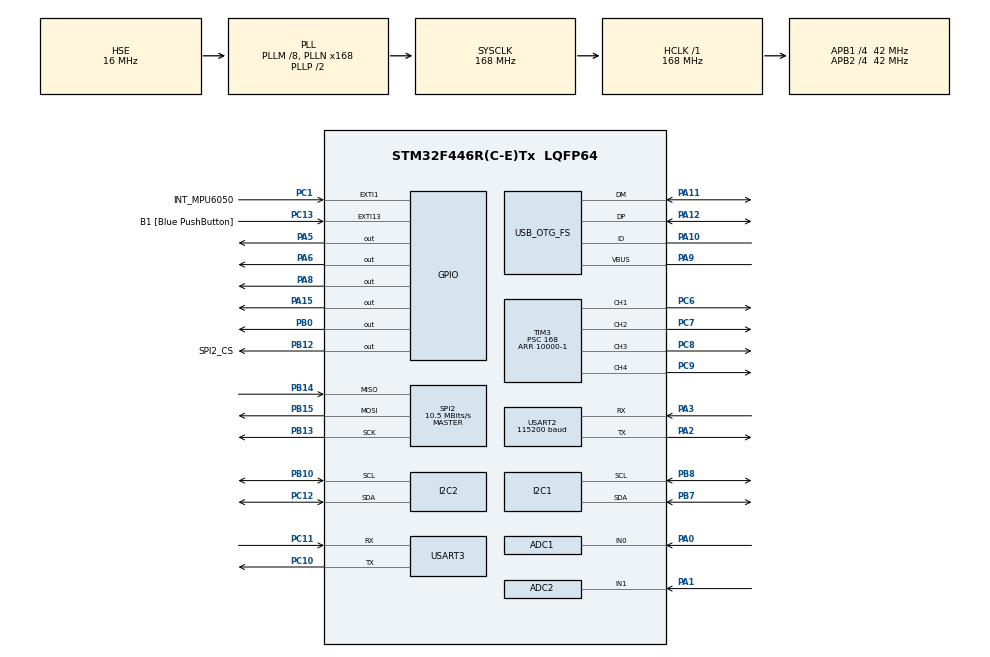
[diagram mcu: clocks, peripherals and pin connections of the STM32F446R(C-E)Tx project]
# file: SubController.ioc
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ADC1.Channel-0\#ChannelRegularConversion=ADC_CHANNEL_0
ADC1.ClockPrescaler=ADC_CLOCK_SYNC_PCLK_DIV4
ADC1.ContinuousConvMode=DISABLE
ADC1.DMAContinuousRequests=ENABLE
ADC1.DiscontinuousConvMode=DISABLE
ADC1.ExternalTrigConv=ADC_EXTERNALTRIGCONV_T2_TRGO
ADC1.NbrOfConversion=1
ADC1.NbrOfConversionFlag=1
ADC1.Rank-0\#ChannelRegularConversion=1
ADC1.SamplingTime-0\#ChannelRegularConversion=ADC_SAMPLETIME_144CYCLES
ADC1.ScanConvMode=ENABLE
ADC1.master=1
ADC2.Channel-0\#ChannelRegularConversion=ADC_CHANNEL_1
ADC2.ClockPrescaler=ADC_CLOCK_SYNC_PCLK_DIV4
ADC2.DMAContinuousRequests=ENABLE
ADC2.ExternalTrigConv=ADC_EXTERNALTRIGCONV_T2_TRGO
ADC2.ExternalTrigConvEdge=ADC_EXTERNALTRIGCONVEDGE_FALLING
ADC2.NbrOfConversion=1
ADC2.NbrOfConversionFlag=1
ADC2.Rank-0\#ChannelRegularConversion=1
ADC2.SamplingTime-0\#ChannelRegularConversion=ADC_SAMPLETIME_3CYCLES
Dma.ADC1.2.Direction=DMA_PERIPH_TO_MEMORY
Dma.ADC1.2.FIFOMode=DMA_FIFOMODE_DISABLE
Dma.ADC1.2.Instance=DMA2_Stream0
Dma.ADC1.2.MemDataAlignment=DMA_MDATAALIGN_HALFWORD
Dma.ADC1.2.MemInc=DMA_MINC_ENABLE
Dma.ADC1.2.Mode=DMA_CIRCULAR
Dma.ADC1.2.PeriphDataAlignment=DMA_PDATAALIGN_HALFWORD
Dma.ADC1.2.PeriphInc=DMA_PINC_DISABLE
Dma.ADC1.2.Priority=DMA_PRIORITY_HIGH
Dma.ADC2.5.Direction=DMA_PERIPH_TO_MEMORY
Dma.ADC2.5.FIFOMode=DMA_FIFOMODE_DISABLE
Dma.ADC2.5.Instance=DMA2_Stream2
Dma.ADC2.5.MemDataAlignment=DMA_MDATAALIGN_HALFWORD
Dma.ADC2.5.MemInc=DMA_MINC_ENABLE
Dma.ADC2.5.Mode=DMA_CIRCULAR
Dma.ADC2.5.PeriphDataAlignment=DMA_PDATAALIGN_HALFWORD
Dma.ADC2.5.PeriphInc=DMA_PINC_DISABLE
Dma.ADC2.5.Priority=DMA_PRIORITY_HIGH
Dma.I2C1_RX.0.Direction=DMA_PERIPH_TO_MEMORY
Dma.I2C1_RX.0.FIFOMode=DMA_FIFOMODE_DISABLE
Dma.I2C1_RX.0.Instance=DMA1_Stream0
Dma.I2C1_RX.0.MemDataAlignment=DMA_MDATAALIGN_BYTE
Dma.I2C1_RX.0.MemInc=DMA_MINC_ENABLE
Dma.I2C1_RX.0.Mode=DMA_NORMAL
Dma.I2C1_RX.0.PeriphDataAlignment=DMA_PDATAALIGN_BYTE
Dma.I2C1_RX.0.PeriphInc=DMA_PINC_DISABLE
Dma.I2C1_RX.0.Priority=DMA_PRIORITY_HIGH
Dma.I2C1_TX.1.Direction=DMA_MEMORY_TO_PERIPH
Dma.I2C1_TX.1.FIFOMode=DMA_FIFOMODE_DISABLE
Dma.I2C1_TX.1.Instance=DMA1_Stream7
Dma.I2C1_TX.1.MemDataAlignment=DMA_MDATAALIGN_BYTE
Dma.I2C1_TX.1.MemInc=DMA_MINC_ENABLE
Dma.I2C1_TX.1.Mode=DMA_NORMAL
Dma.I2C1_TX.1.PeriphDataAlignment=DMA_PDATAALIGN_BYTE
Dma.I2C1_TX.1.PeriphInc=DMA_PINC_DISABLE
Dma.I2C1_TX.1.Priority=DMA_PRIORITY_HIGH
Dma.Request0=I2C1_RX
Dma.Request1=I2C1_TX
Dma.Request2=ADC1
Dma.Request3=USART3_RX
Dma.Request4=USART3_TX
Dma.Request5=ADC2
Dma.Request6=USART2_TX
Dma.USART2_TX.6.Direction=DMA_MEMORY_TO_PERIPH
Dma.USART2_TX.6.FIFOMode=DMA_FIFOMODE_DISABLE
Dma.USART2_TX.6.Instance=DMA1_Stream6
Dma.USART2_TX.6.MemDataAlignment=DMA_MDATAALIGN_BYTE
Dma.USART2_TX.6.MemInc=DMA_MINC_ENABLE
Dma.USART2_TX.6.Mode=DMA_NORMAL
Dma.USART2_TX.6.PeriphDataAlignment=DMA_PDATAALIGN_BYTE
Dma.USART2_TX.6.PeriphInc=DMA_PINC_DISABLE
Dma.USART2_TX.6.Priority=DMA_PRIORITY_HIGH
Dma.USART3_RX.3.Direction=DMA_PERIPH_TO_MEMORY
Dma.USART3_RX.3.FIFOMode=DMA_FIFOMODE_DISABLE
Dma.USART3_RX.3.Instance=DMA1_Stream1
Dma.USART3_RX.3.MemDataAlignment=DMA_MDATAALIGN_BYTE
Dma.USART3_RX.3.MemInc=DMA_MINC_ENABLE
Dma.USART3_RX.3.Mode=DMA_CIRCULAR
Dma.USART3_RX.3.PeriphDataAlignment=DMA_PDATAALIGN_BYTE
Dma.USART3_RX.3.PeriphInc=DMA_PINC_DISABLE
Dma.USART3_RX.3.Priority=DMA_PRIORITY_MEDIUM
Dma.USART3_TX.4.Direction=DMA_MEMORY_TO_PERIPH
Dma.USART3_TX.4.FIFOMode=DMA_FIFOMODE_DISABLE
Dma.USART3_TX.4.Instance=DMA1_Stream3
Dma.USART3_TX.4.MemDataAlignment=DMA_MDATAALIGN_BYTE
Dma.USART3_TX.4.MemInc=DMA_MINC_ENABLE
Dma.USART3_TX.4.Mode=DMA_CIRCULAR
Dma.USART3_TX.4.PeriphDataAlignment=DMA_PDATAALIGN_BYTE
Dma.USART3_TX.4.PeriphInc=DMA_PINC_DISABLE
Dma.USART3_TX.4.Priority=DMA_PRIORITY_MEDIUM
FATFS._MAX_SS=4096
FATFS._USE_LFN=2
FREERTOS.Tasks01=DefaultTask,-3,128,defaultTask,Default,NULL,Dynamic,NULL,NULL;LEDscreenTask,0,512,sendDataToScreen,Default,NULL,Dynamic,NULL,NULL;controlLoopTask,2,128,updateControlLoop,Default,NULL,Dynamic,NULL,NULL;SDcardTask,0,2048,recordSDdata,Default,NULL,Dynamic,NULL,NULL;pressureSensorT,0,128,getBar30Data,Default,NULL,Dynamic,NULL,NULL;KalmanPredict,0,128,EKFpredict,Default,NULL,Dynamic,NULL,NULL
FREERTOS.configUSE_NEWLIB_REENTRANT=1
I2C1.I2C_Mode=I2C_Fast
Mcu.Family=STM32F4
Mcu.Name=STM32F446R(C-E)Tx
Mcu.Package=LQFP64
NVIC.ADC_IRQn=true\:5\:0\:false\:false\:true\:true\:true\:true\:true
NVIC.DMA1_Stream0_IRQn=true\:5\:0\:false\:false\:true\:true\:false\:true\:true
NVIC.DMA1_Stream1_IRQn=true\:5\:0\:false\:false\:true\:true\:false\:true\:true
NVIC.DMA1_Stream3_IRQn=true\:5\:0\:false\:false\:true\:true\:false\:true\:true
NVIC.DMA1_Stream6_IRQn=true\:5\:0\:false\:false\:true\:true\:false\:true\:true
NVIC.DMA1_Stream7_IRQn=true\:5\:0\:false\:false\:true\:true\:false\:true\:true
NVIC.DMA2_Stream0_IRQn=true\:5\:0\:false\:false\:true\:true\:false\:true\:true
NVIC.DMA2_Stream2_IRQn=true\:5\:0\:false\:false\:true\:true\:false\:true\:true
NVIC.EXTI1_IRQn=true\:5\:0\:false\:false\:true\:true\:true\:true\:true
NVIC.I2C1_EV_IRQn=true\:5\:0\:false\:false\:true\:true\:true\:true\:true
NVIC.I2C2_EV_IRQn=true\:5\:0\:false\:false\:true\:true\:true\:true\:true
NVIC.PriorityGroup=NVIC_PRIORITYGROUP_4
NVIC.TIM1_UP_TIM10_IRQn=true\:15\:0\:false\:false\:true\:false\:false\:true\:true
NVIC.TIM3_IRQn=true\:5\:0\:false\:false\:true\:true\:true\:true\:true
NVIC.TimeBase=TIM1_UP_TIM10_IRQn
NVIC.TimeBaseIP=TIM1
NVIC.USART2_IRQn=true\:5\:0\:false\:false\:true\:true\:true\:true\:true
NVIC.USART3_IRQn=true\:5\:0\:false\:false\:true\:true\:true\:true\:true
PA0-WKUP.Signal=ADCx_IN0
PA1.Signal=ADCx_IN1
PA10.Mode=OTG/Dual_Role_Device
PA10.Signal=USB_OTG_FS_ID
PA11.Mode=OTG/Dual_Role_Device
PA11.Signal=USB_OTG_FS_DM
PA12.Mode=OTG/Dual_Role_Device
PA12.Signal=USB_OTG_FS_DP
PA13.GPIO_Label=TMS
PA13.Mode=Trace_Asynchronous_SW
PA13.Signal=SYS_JTMS-SWDIO
PA14.GPIO_Label=TCK
PA14.Mode=Trace_Asynchronous_SW
PA14.Signal=SYS_JTCK-SWCLK
PA15.Signal=GPIO_Output
PA2.Mode=Asynchronous
PA2.Signal=USART2_TX
PA3.Mode=Asynchronous
PA3.Signal=USART2_RX
PA5.Signal=GPIO_Output
PA6.Signal=GPIO_Output
PA8.Signal=GPIO_Output
PA9.Mode=Activate_VBUS
PA9.Signal=USB_OTG_FS_VBUS
PB0.Signal=GPIO_Output
PB10.Mode=I2C
PB10.Signal=I2C2_SCL
PB12.GPIO_Label=SPI2_CS
PB12.GPIO_Speed=GPIO_SPEED_FREQ_MEDIUM
PB12.PinState=GPIO_PIN_SET
PB12.Signal=GPIO_Output
PB13.Mode=Full_Duplex_Master
PB13.Signal=SPI2_SCK
PB14.Mode=Full_Duplex_Master
PB14.Signal=SPI2_MISO
PB15.Mode=Full_Duplex_Master
PB15.Signal=SPI2_MOSI
PB3.Mode=Trace_Asynchronous_SW
PB3.Signal=SYS_JTDO-SWO
PB7.Mode=I2C
PB7.Signal=I2C1_SDA
PB8.Mode=I2C
PB8.Signal=I2C1_SCL
PC1.GPIO_Label=INT_MPU6050
PC1.Signal=GPXTI1
PC10.Mode=Asynchronous
PC10.Signal=USART3_TX
PC11.Mode=Asynchronous
PC11.Signal=USART3_RX
PC12.Mode=I2C
PC12.Signal=I2C2_SDA
PC13.GPIO_Label=B1 [Blue PushButton]
PC13.GPIO_ModeDefaultEXTI=GPIO_MODE_IT_FALLING
PC13.Signal=GPXTI13
PC14-OSC32_IN.Mode=LSE-External-Oscillator
PC14-OSC32_IN.Signal=RCC_OSC32_IN
PC15-OSC32_OUT.Mode=LSE-External-Oscillator
PC15-OSC32_OUT.Signal=RCC_OSC32_OUT
PC6.Signal=S_TIM3_CH1
PC7.Signal=S_TIM3_CH2
PC8.Signal=S_TIM3_CH3
PC9.Signal=S_TIM3_CH4
PH0-OSC_IN.Mode=HSE-External-Oscillator
PH0-OSC_IN.Signal=RCC_OSC_IN
PH1-OSC_OUT.Mode=HSE-External-Oscillator
PH1-OSC_OUT.Signal=RCC_OSC_OUT
ProjectManager.HeapSize=0x400
ProjectManager.StackSize=0x400
ProjectManager.TargetToolchain=STM32CubeIDE
RCC.48MHZClocksFreq_Value=84000000
RCC.AHBFreq_Value=168000000
RCC.APB1CLKDivider=RCC_HCLK_DIV4
RCC.APB1Freq_Value=42000000
RCC.APB1TimFreq_Value=84000000
RCC.APB2CLKDivider=RCC_HCLK_DIV4
RCC.APB2Freq_Value=42000000
RCC.APB2TimFreq_Value=84000000
RCC.CortexFreq_Value=168000000
RCC.FLatency-AdvancedSettings=FLASH_LATENCY_5
RCC.HCLKFreq_Value=168000000
RCC.HSE_VALUE=16000000
RCC.HSI_VALUE=16000000
RCC.PLLI2SM=39
RCC.PLLI2SN=100
RCC.PLLM=8
RCC.PLLN=168
RCC.PLLQ=7
RCC.PLLSourceVirtual=RCC_PLLSOURCE_HSE
RCC.SYSCLKFreq_VALUE=168000000
RCC.SYSCLKSource=RCC_SYSCLKSOURCE_PLLCLK
RCC.USBFreq_Value=48000000
RCC.VCOOutputFreq_Value=336000000
SH.ADCx_IN0.0=ADC1_IN0,IN0
SH.ADCx_IN1.0=ADC2_IN1,IN1
SH.S_TIM3_CH1.0=TIM3_CH1,PWM Generation1 CH1
SH.S_TIM3_CH2.0=TIM3_CH2,PWM Generation2 CH2
SH.S_TIM3_CH3.0=TIM3_CH3,PWM Generation3 CH3
SH.S_TIM3_CH4.0=TIM3_CH4,PWM Generation4 CH4
SPI2.BaudRatePrescaler=SPI_BAUDRATEPRESCALER_4
SPI2.CalculateBaudRate=10.5 MBits/s
SPI2.Direction=SPI_DIRECTION_2LINES
SPI2.Mode=SPI_MODE_MASTER
SPI2.VirtualType=VM_MASTER
TIM2.Channel-PWM\ Generation1\ No\ Output=TIM_CHANNEL_1
TIM2.Period=2000-1
TIM2.Prescaler=8400-1
TIM2.TIM_MasterOutputTrigger=TIM_TRGO_UPDATE
TIM3.Channel-PWM\ Generation1\ CH1=TIM_CHANNEL_1
TIM3.Channel-PWM\ Generation2\ CH2=TIM_CHANNEL_2
TIM3.Channel-PWM\ Generation3\ CH3=TIM_CHANNEL_3
TIM3.Channel-PWM\ Generation4\ CH4=TIM_CHANNEL_4
TIM3.Period=10000-1
TIM3.Prescaler=168
TIM8.Channel-PWM\ Generation1\ No\ Output=TIM_CHANNEL_1
TIM8.Period=2000-1
TIM8.Prescaler=8400-1
TIM8.TIM_MasterOutputTrigger=TIM_TRGO_UPDATE
USART2.BaudRate=115200
USART2.VirtualMode=VM_ASYNC
USART3.VirtualMode=VM_ASYNC
VP_FATFS_VS_Generic.Mode=User_defined
VP_FREERTOS_VS_CMSIS_V1.Mode=CMSIS_V1
VP_SYS_VS_tim1.Mode=TIM1
VP_TIM2_VS_ClockSourceINT.Mode=Internal
VP_TIM2_VS_no_output1.Mode=PWM Generation1 No Output
VP_TIM8_VS_ClockSourceINT.Mode=Internal
VP_TIM8_VS_no_output1.Mode=PWM Generation1 No Output
board=NUCLEO-F446RE

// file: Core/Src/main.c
/* USER CODE BEGIN Header */
/**
  ******************************************************************************
  * @file           : main.c
  * @brief          : Main program body
  ******************************************************************************
  * @attention
  *
  * Copyright (c) 2023 STMicroelectronics.
  * All rights reserved.
  *
  * This software is licensed under terms that can be found in the LICENSE file
  * in the root directory of this software component.
  * If no LICENSE file comes with this software, it is provided AS-IS.
  *
  ******************************************************************************
  */
/* USER CODE END Header */
#include "main.h"
#include "cmsis_os.h"
#include "fatfs.h"

/* USER CODE BEGIN Includes */
#include "fatfs_sd.h"
#include "string.h"
#include "stdio.h"
#include "MPU6050.h"
#include "joystick.h"
#include "Bar30.h"
#include "LCDcommunication.h"
#include "KalmanRollPitch.h"
#include "servos.h"
/* USER CODE END Includes */

/* USER CODE BEGIN PD */

// SD card variables
uint8_t firstWrite=1;
SPI_HandleTypeDef hspi2;
FATFS fs;
FATFS *pfs;
FIL fil;
FRESULT fres;
DWORD fre_clust;
uint32_t totalSpace, freeSpace;
char buffer[100];

// Tx buffer for screen
uint8_t Txbuf[25];

// velocity,roll and pitch
float velocity=0.0f;
float phiHat_rad=0.0f;
float thetaHat_rad = 0.0f;
float phiHat_deg=0.0f;
float thetaHat_deg = 0.0f;

/* USER CODE END PD */

/* USER CODE BEGIN PM */
#define RAD_TO_DEG 57.2957795131f;

/* USER CODE END PM */

ADC_HandleTypeDef hadc1;
ADC_HandleTypeDef hadc2;
DMA_HandleTypeDef hdma_adc1;
DMA_HandleTypeDef hdma_adc2;

I2C_HandleTypeDef hi2c1;
I2C_HandleTypeDef hi2c2;
DMA_HandleTypeDef hdma_i2c1_rx;
DMA_HandleTypeDef hdma_i2c1_tx;

SPI_HandleTypeDef hspi2;

TIM_HandleTypeDef htim2;
TIM_HandleTypeDef htim3;
TIM_HandleTypeDef htim8;

UART_HandleTypeDef huart2;
UART_HandleTypeDef huart3;
DMA_HandleTypeDef hdma_usart2_tx;
DMA_HandleTypeDef hdma_usart3_rx;
DMA_HandleTypeDef hdma_usart3_tx;

osThreadId DefaultTaskHandle;
osThreadId LEDscreenTaskHandle;
osThreadId controlLoopTaskHandle;
osThreadId SDcardTaskHandle;
osThreadId pressureSensorTHandle;
osThreadId KalmanPredictHandle;
/* USER CODE BEGIN PV */

Joystick joystick;
uint32_t adc1Data;
uint32_t adc2Data;

MPU6050 mpu6050;
Bar30 pressureSensor;

uint8_t readCount=0;
uint8_t message=0;
uint8_t mpuIntCount=0;
uint8_t numCalibrationMeas=0;

float* accelx=&mpu6050.acc_mps2[0];
float* accely=&mpu6050.acc_mps2[1];
float* accelz=&mpu6050.acc_mps2[2];

float rollSpeed;
float pitchSpeed;
float yawSpeed;

// screen buffers and states

static HAL_StatusTypeDef txStatus;

/* USER CODE END PV */

void SystemClock_Config(void);
static void MX_GPIO_Init(void);
static void MX_DMA_Init(void);
static void MX_ADC1_Init(void);
static void MX_I2C1_Init(void);
static void MX_TIM3_Init(void);
static void MX_I2C2_Init(void);
static void MX_SPI2_Init(void);
static void MX_TIM2_Init(void);
static void MX_USART2_UART_Init(void);
static void MX_USB_OTG_FS_USB_Init(void);
static void MX_USART3_UART_Init(void);
static void MX_ADC2_Init(void);
static void MX_TIM8_Init(void);
void defaultTask(void const * argument);
void sendDataToScreen(void const * argument);
void updateControlLoop(void const * argument);
void recordSDdata(void const * argument);
void getBar30Data(void const * argument);
void EKFpredict(void const * argument);

/* USER CODE BEGIN 0 */
#ifdef __GNUC__
#define PUTCHAR_PROTOTYPE int __io_putchar(int ch)
#else
#define PUTCHAR_PROTOTYPE int fputc(int ch, FILE *f)
#endif /* __GNUC__ */

void HAL_GPIO_EXTI_Callback(uint16_t GPIO_Pin)
{

	if(GPIO_Pin==INT_MPU6050_Pin) //interrupt called at 1kHz
	{
		mpuIntCount=mpuIntCount+1;
		if(mpuIntCount==20){ // downsample MPU6050 data at 50 Hz
			message=MPU6050readDataDMA(&mpu6050);
			//printf("error message: %i\r\n:",message);
			mpuIntCount=0;
			//mpu6050.numCalibrationMeas=mpu6050.numCalibrationMeas+1;
		}
	}
}

void HAL_I2C_MemRxCpltCallback(I2C_HandleTypeDef* hi2c)
{
	if(hi2c->Instance==mpu6050.i2cHandle->Instance)
	{
		mpu6050.rxFlag=0;
		MPU6050convertRawData(&mpu6050);
		//MPU6050filterRawData(&mpu6050);

	}

}

void transmit_uart(char* string){
	uint8_t len=strlen(string);
	HAL_UART_Transmit(&huart2,(uint8_t*)string,len,200);
}

void HAL_ADC_ConvCpltCallback(ADC_HandleTypeDef *hadc)
{
	if(hadc->Instance==ADC1){
		joystick.joystickData[0]=adc1Data;
		joystick.joystickVoltage[0]=(float)joystick.joystickData[0]*3.3/4095.0f;

	}
	if(hadc->Instance==ADC2){
		joystick.joystickData[1]=adc2Data;
		joystick.joystickVoltage[1]=(float)joystick.joystickData[1]*3.3/4095.0f;

	}
}

void HAL_UART_RxCpltCallback(UART_HandleTypeDef *huart)
{

}

void HAL_UART_TxCpltCallback(UART_HandleTypeDef *huart)
{

}

int _write(int file, char *ptr, int len)
{
  (void)file;
  int DataIdx;

  for (DataIdx = 0; DataIdx < len; DataIdx++)
  {
    ITM_SendChar(*ptr++);
  }
  return len;
}

/* USER CODE END 0 */

int main(void)
{

  /* MCU Configuration--------------------------------------------------------*/

  /* Reset of all peripherals, Initializes the Flash interface and the Systick. */
  HAL_Init();

  /* Configure the system clock */
  SystemClock_Config();

  /* Initialize all configured peripherals */
  MX_GPIO_Init();
  MX_DMA_Init();
  MX_ADC1_Init();
  MX_I2C1_Init();
  MX_TIM3_Init();
  MX_I2C2_Init();
  MX_SPI2_Init();
  MX_FATFS_Init();
  MX_TIM2_Init();
  MX_USART2_UART_Init();
  MX_USB_OTG_FS_USB_Init();
  MX_USART3_UART_Init();
  MX_ADC2_Init();
  MX_TIM8_Init();
  /* USER CODE BEGIN 2 */

  // Start servo PWM ( pulse duration from 0.9ms to 2.1ms with 1.5 as center ) duty cycle varies from 4.5% to 7.5%
  //( CCR can go from 425 to 1175 )
  HAL_TIM_PWM_Start(&htim3,TIM_CHANNEL_1);
  HAL_TIM_PWM_Start(&htim3,TIM_CHANNEL_2);
  HAL_TIM_PWM_Start(&htim3,TIM_CHANNEL_3);
  HAL_TIM_PWM_Start(&htim3,TIM_CHANNEL_4);

  htim3.Instance->CCR1=SERVO_CENTER_PWM;
  htim3.Instance->CCR2=SERVO_CENTER_PWM;
  htim3.Instance->CCR3=SERVO_CENTER_PWM;
  htim3.Instance->CCR4=SERVO_CENTER_PWM;

  // Start DMA streams

  HAL_ADC_Start_DMA(&hadc1,&adc1Data,1);
  HAL_ADC_Start_DMA(&hadc2,&adc2Data,1);
  HAL_TIM_Base_Start(&htim2);
  HAL_TIM_Base_Start(&htim8);

  // sensor initialization
  uint8_t deviceReady;
  deviceReady=checkMPU6050Ready();
  uint8_t configGood=MPU6050init(&mpu6050,&hi2c1);
  uint8_t rec;
  HAL_StatusTypeDef stat;
  stat=HAL_I2C_Mem_Read (&hi2c1,MPU6050ADDR,WHO_AM_I_REG,I2C_MEMADD_SIZE_8BIT,&rec,1,100);

  Bar30init(&pressureSensor, &hi2c2);
  uint8_t i2cGood=0;
  i2cGood=Bar30reset(&pressureSensor);
  printf("Reset Command Result : %i\r\n",i2cGood );
  i2cGood=Bar30getCalibration(&pressureSensor);
  printf("Calibration phase result : %i\r\n",i2cGood );
  i2cGood=Bar30CRCcheck(pressureSensor.calibrationResult);

  /* USER CODE END 2 */

  /* Create the thread(s) */
  /* definition and creation of DefaultTask */
  osThreadDef(DefaultTask, defaultTask, osPriorityIdle, 0, 128);
  DefaultTaskHandle = osThreadCreate(osThread(DefaultTask), NULL);

  /* definition and creation of LEDscreenTask */
  osThreadDef(LEDscreenTask, sendDataToScreen, osPriorityNormal, 0, 512);
  LEDscreenTaskHandle = osThreadCreate(osThread(LEDscreenTask), NULL);

  /* definition and creation of controlLoopTask */
  osThreadDef(controlLoopTask, updateControlLoop, osPriorityHigh, 0, 128);
  controlLoopTaskHandle = osThreadCreate(osThread(controlLoopTask), NULL);

  /* definition and creation of SDcardTask */
  osThreadDef(SDcardTask, recordSDdata, osPriorityNormal, 0, 2048);
  SDcardTaskHandle = osThreadCreate(osThread(SDcardTask), NULL);

  /* definition and creation of pressureSensorT */
  osThreadDef(pressureSensorT, getBar30Data, osPriorityNormal, 0, 128);
  pressureSensorTHandle = osThreadCreate(osThread(pressureSensorT), NULL);

  /* definition and creation of KalmanPredict */
  osThreadDef(KalmanPredict, EKFpredict, osPriorityNormal, 0, 128);
  KalmanPredictHandle = osThreadCreate(osThread(KalmanPredict), NULL);

  /* Start scheduler */
  osKernelStart();

  /* We should never get here as control is now taken by the scheduler */

  /* Infinite loop */
  while (1)
  {

  }
}

void SystemClock_Config(void)
{
  RCC_OscInitTypeDef RCC_OscInitStruct = {0};
  RCC_ClkInitTypeDef RCC_ClkInitStruct = {0};

  /** Configure the main internal regulator output voltage
  */
  __HAL_RCC_PWR_CLK_ENABLE();
  __HAL_PWR_VOLTAGESCALING_CONFIG(PWR_REGULATOR_VOLTAGE_SCALE1);

  /** Initializes the RCC Oscillators according to the specified parameters
  * in the RCC_OscInitTypeDef structure.
  */
  RCC_OscInitStruct.OscillatorType = RCC_OSCILLATORTYPE_HSE;
  RCC_OscInitStruct.HSEState = RCC_HSE_ON;
  RCC_OscInitStruct.PLL.PLLState = RCC_PLL_ON;
  RCC_OscInitStruct.PLL.PLLSource = RCC_PLLSOURCE_HSE;
  RCC_OscInitStruct.PLL.PLLM = 8;
  RCC_OscInitStruct.PLL.PLLN = 168;
  RCC_OscInitStruct.PLL.PLLP = RCC_PLLP_DIV2;
  RCC_OscInitStruct.PLL.PLLQ = 7;
  RCC_OscInitStruct.PLL.PLLR = 2;
  if (HAL_RCC_OscConfig(&RCC_OscInitStruct) != HAL_OK)
  {
    Error_Handler();
  }

  /** Initializes the CPU, AHB and APB buses clocks
  */
  RCC_ClkInitStruct.ClockType = RCC_CLOCKTYPE_HCLK|RCC_CLOCKTYPE_SYSCLK
                              |RCC_CLOCKTYPE_PCLK1|RCC_CLOCKTYPE_PCLK2;
  RCC_ClkInitStruct.SYSCLKSource = RCC_SYSCLKSOURCE_PLLCLK;
  RCC_ClkInitStruct.AHBCLKDivider = RCC_SYSCLK_DIV1;
  RCC_ClkInitStruct.APB1CLKDivider = RCC_HCLK_DIV4;
  RCC_ClkInitStruct.APB2CLKDivider = RCC_HCLK_DIV4;

  if (HAL_RCC_ClockConfig(&RCC_ClkInitStruct, FLASH_LATENCY_5) != HAL_OK)
  {
    Error_Handler();
  }
}

static void MX_ADC1_Init(void)
{

  ADC_ChannelConfTypeDef sConfig = {0};

  /** Configure the global features of the ADC (Clock, Resolution, Data Alignment and number of conversion)
  */
  hadc1.Instance = ADC1;
  hadc1.Init.ClockPrescaler = ADC_CLOCK_SYNC_PCLK_DIV4;
  hadc1.Init.Resolution = ADC_RESOLUTION_12B;
  hadc1.Init.ScanConvMode = ENABLE;
  hadc1.Init.ContinuousConvMode = DISABLE;
  hadc1.Init.DiscontinuousConvMode = DISABLE;
  hadc1.Init.ExternalTrigConvEdge = ADC_EXTERNALTRIGCONVEDGE_RISING;
  hadc1.Init.ExternalTrigConv = ADC_EXTERNALTRIGCONV_T2_TRGO;
  hadc1.Init.DataAlign = ADC_DATAALIGN_RIGHT;
  hadc1.Init.NbrOfConversion = 1;
  hadc1.Init.DMAContinuousRequests = ENABLE;
  hadc1.Init.EOCSelection = ADC_EOC_SINGLE_CONV;
  if (HAL_ADC_Init(&hadc1) != HAL_OK)
  {
    Error_Handler();
  }

  /** Configure for the selected ADC regular channel its corresponding rank in the sequencer and its sample time.
  */
  sConfig.Channel = ADC_CHANNEL_0;
  sConfig.Rank = 1;
  sConfig.SamplingTime = ADC_SAMPLETIME_144CYCLES;
  if (HAL_ADC_ConfigChannel(&hadc1, &sConfig) != HAL_OK)
  {
    Error_Handler();
  }

}

static void MX_ADC2_Init(void)
{

  ADC_ChannelConfTypeDef sConfig = {0};

  /** Configure the global features of the ADC (Clock, Resolution, Data Alignment and number of conversion)
  */
  hadc2.Instance = ADC2;
  hadc2.Init.ClockPrescaler = ADC_CLOCK_SYNC_PCLK_DIV4;
  hadc2.Init.Resolution = ADC_RESOLUTION_12B;
  hadc2.Init.ScanConvMode = DISABLE;
  hadc2.Init.ContinuousConvMode = DISABLE;
  hadc2.Init.DiscontinuousConvMode = DISABLE;
  hadc2.Init.ExternalTrigConvEdge = ADC_EXTERNALTRIGCONVEDGE_FALLING;
  hadc2.Init.ExternalTrigConv = ADC_EXTERNALTRIGCONV_T2_TRGO;
  hadc2.Init.DataAlign = ADC_DATAALIGN_RIGHT;
  hadc2.Init.NbrOfConversion = 1;
  hadc2.Init.DMAContinuousRequests = ENABLE;
  hadc2.Init.EOCSelection = ADC_EOC_SINGLE_CONV;
  if (HAL_ADC_Init(&hadc2) != HAL_OK)
  {
    Error_Handler();
  }

  /** Configure for the selected ADC regular channel its corresponding rank in the sequencer and its sample time.
  */
  sConfig.Channel = ADC_CHANNEL_1;
  sConfig.Rank = 1;
  sConfig.SamplingTime = ADC_SAMPLETIME_3CYCLES;
  if (HAL_ADC_ConfigChannel(&hadc2, &sConfig) != HAL_OK)
  {
    Error_Handler();
  }

}

static void MX_I2C1_Init(void)
{

  hi2c1.Instance = I2C1;
  hi2c1.Init.ClockSpeed = 400000;
  hi2c1.Init.DutyCycle = I2C_DUTYCYCLE_2;
  hi2c1.Init.OwnAddress1 = 0;
  hi2c1.Init.AddressingMode = I2C_ADDRESSINGMODE_7BIT;
  hi2c1.Init.DualAddressMode = I2C_DUALADDRESS_DISABLE;
  hi2c1.Init.OwnAddress2 = 0;
  hi2c1.Init.GeneralCallMode = I2C_GENERALCALL_DISABLE;
  hi2c1.Init.NoStretchMode = I2C_NOSTRETCH_DISABLE;
  if (HAL_I2C_Init(&hi2c1) != HAL_OK)
  {
    Error_Handler();
  }

}

static void MX_I2C2_Init(void)
{

  hi2c2.Instance = I2C2;
  hi2c2.Init.ClockSpeed = 100000;
  hi2c2.Init.DutyCycle = I2C_DUTYCYCLE_2;
  hi2c2.Init.OwnAddress1 = 0;
  hi2c2.Init.AddressingMode = I2C_ADDRESSINGMODE_7BIT;
  hi2c2.Init.DualAddressMode = I2C_DUALADDRESS_DISABLE;
  hi2c2.Init.OwnAddress2 = 0;
  hi2c2.Init.GeneralCallMode = I2C_GENERALCALL_DISABLE;
  hi2c2.Init.NoStretchMode = I2C_NOSTRETCH_DISABLE;
  if (HAL_I2C_Init(&hi2c2) != HAL_OK)
  {
    Error_Handler();
  }

}

static void MX_SPI2_Init(void)
{

  /* SPI2 parameter configuration*/
  hspi2.Instance = SPI2;
  hspi2.Init.Mode = SPI_MODE_MASTER;
  hspi2.Init.Direction = SPI_DIRECTION_2LINES;
  hspi2.Init.DataSize = SPI_DATASIZE_8BIT;
  hspi2.Init.CLKPolarity = SPI_POLARITY_LOW;
  hspi2.Init.CLKPhase = SPI_PHASE_1EDGE;
  hspi2.Init.NSS = SPI_NSS_SOFT;
  hspi2.Init.BaudRatePrescaler = SPI_BAUDRATEPRESCALER_4;
  hspi2.Init.FirstBit = SPI_FIRSTBIT_MSB;
  hspi2.Init.TIMode = SPI_TIMODE_DISABLE;
  hspi2.Init.CRCCalculation = SPI_CRCCALCULATION_DISABLE;
  hspi2.Init.CRCPolynomial = 10;
  if (HAL_SPI_Init(&hspi2) != HAL_OK)
  {
    Error_Handler();
  }

}

static void MX_TIM2_Init(void)
{

  TIM_ClockConfigTypeDef sClockSourceConfig = {0};
  TIM_MasterConfigTypeDef sMasterConfig = {0};
  TIM_OC_InitTypeDef sConfigOC = {0};

  htim2.Instance = TIM2;
  htim2.Init.Prescaler = 8400-1;
  htim2.Init.CounterMode = TIM_COUNTERMODE_UP;
  htim2.Init.Period = 2000-1;
  htim2.Init.ClockDivision = TIM_CLOCKDIVISION_DIV1;
  htim2.Init.AutoReloadPreload = TIM_AUTORELOAD_PRELOAD_DISABLE;
  if (HAL_TIM_Base_Init(&htim2) != HAL_OK)
  {
    Error_Handler();
  }
  sClockSourceConfig.ClockSource = TIM_CLOCKSOURCE_INTERNAL;
  if (HAL_TIM_ConfigClockSource(&htim2, &sClockSourceConfig) != HAL_OK)
  {
    Error_Handler();
  }
  if (HAL_TIM_PWM_Init(&htim2) != HAL_OK)
  {
    Error_Handler();
  }
  sMasterConfig.MasterOutputTrigger = TIM_TRGO_UPDATE;
  sMasterConfig.MasterSlaveMode = TIM_MASTERSLAVEMODE_DISABLE;
  if (HAL_TIMEx_MasterConfigSynchronization(&htim2, &sMasterConfig) != HAL_OK)
  {
    Error_Handler();
  }
  sConfigOC.OCMode = TIM_OCMODE_PWM1;
  sConfigOC.Pulse = 0;
  sConfigOC.OCPolarity = TIM_OCPOLARITY_HIGH;
  sConfigOC.OCFastMode = TIM_OCFAST_DISABLE;
  if (HAL_TIM_PWM_ConfigChannel(&htim2, &sConfigOC, TIM_CHANNEL_1) != HAL_OK)
  {
    Error_Handler();
  }

}

static void MX_TIM3_Init(void)
{

  TIM_MasterConfigTypeDef sMasterConfig = {0};
  TIM_OC_InitTypeDef sConfigOC = {0};

  htim3.Instance = TIM3;
  htim3.Init.Prescaler = 168;
  htim3.Init.CounterMode = TIM_COUNTERMODE_UP;
  htim3.Init.Period = 10000-1;
  htim3.Init.ClockDivision = TIM_CLOCKDIVISION_DIV1;
  htim3.Init.AutoReloadPreload = TIM_AUTORELOAD_PRELOAD_DISABLE;
  if (HAL_TIM_PWM_Init(&htim3) != HAL_OK)
  {
    Error_Handler();
  }
  sMasterConfig.MasterOutputTrigger = TIM_TRGO_RESET;
  sMasterConfig.MasterSlaveMode = TIM_MASTERSLAVEMODE_DISABLE;
  if (HAL_TIMEx_MasterConfigSynchronization(&htim3, &sMasterConfig) != HAL_OK)
  {
    Error_Handler();
  }
  sConfigOC.OCMode = TIM_OCMODE_PWM1;
  sConfigOC.Pulse = 0;
  sConfigOC.OCPolarity = TIM_OCPOLARITY_HIGH;
  sConfigOC.OCFastMode = TIM_OCFAST_DISABLE;
  if (HAL_TIM_PWM_ConfigChannel(&htim3, &sConfigOC, TIM_CHANNEL_1) != HAL_OK)
  {
    Error_Handler();
  }
  if (HAL_TIM_PWM_ConfigChannel(&htim3, &sConfigOC, TIM_CHANNEL_2) != HAL_OK)
  {
    Error_Handler();
  }
  if (HAL_TIM_PWM_ConfigChannel(&htim3, &sConfigOC, TIM_CHANNEL_3) != HAL_OK)
  {
    Error_Handler();
  }
  if (HAL_TIM_PWM_ConfigChannel(&htim3, &sConfigOC, TIM_CHANNEL_4) != HAL_OK)
  {
    Error_Handler();
  }
  HAL_TIM_MspPostInit(&htim3);

}

static void MX_TIM8_Init(void)
{

  TIM_ClockConfigTypeDef sClockSourceConfig = {0};
  TIM_MasterConfigTypeDef sMasterConfig = {0};
  TIM_OC_InitTypeDef sConfigOC = {0};
  TIM_BreakDeadTimeConfigTypeDef sBreakDeadTimeConfig = {0};

  htim8.Instance = TIM8;
  htim8.Init.Prescaler = 8400-1;
  htim8.Init.CounterMode = TIM_COUNTERMODE_UP;
  htim8.Init.Period = 2000-1;
  htim8.Init.ClockDivision = TIM_CLOCKDIVISION_DIV1;
  htim8.Init.RepetitionCounter = 0;
  htim8.Init.AutoReloadPreload = TIM_AUTORELOAD_PRELOAD_DISABLE;
  if (HAL_TIM_Base_Init(&htim8) != HAL_OK)
  {
    Error_Handler();
  }
  sClockSourceConfig.ClockSource = TIM_CLOCKSOURCE_INTERNAL;
  if (HAL_TIM_ConfigClockSource(&htim8, &sClockSourceConfig) != HAL_OK)
  {
    Error_Handler();
  }
  if (HAL_TIM_PWM_Init(&htim8) != HAL_OK)
  {
    Error_Handler();
  }
  sMasterConfig.MasterOutputTrigger = TIM_TRGO_UPDATE;
  sMasterConfig.MasterSlaveMode = TIM_MASTERSLAVEMODE_DISABLE;
  if (HAL_TIMEx_MasterConfigSynchronization(&htim8, &sMasterConfig) != HAL_OK)
  {
    Error_Handler();
  }
  sConfigOC.OCMode = TIM_OCMODE_PWM1;
  sConfigOC.Pulse = 0;
  sConfigOC.OCPolarity = TIM_OCPOLARITY_HIGH;
  sConfigOC.OCNPolarity = TIM_OCNPOLARITY_HIGH;
  sConfigOC.OCFastMode = TIM_OCFAST_DISABLE;
  sConfigOC.OCIdleState = TIM_OCIDLESTATE_RESET;
  sConfigOC.OCNIdleState = TIM_OCNIDLESTATE_RESET;
  if (HAL_TIM_PWM_ConfigChannel(&htim8, &sConfigOC, TIM_CHANNEL_1) != HAL_OK)
  {
    Error_Handler();
  }
  sBreakDeadTimeConfig.OffStateRunMode = TIM_OSSR_DISABLE;
  sBreakDeadTimeConfig.OffStateIDLEMode = TIM_OSSI_DISABLE;
  sBreakDeadTimeConfig.LockLevel = TIM_LOCKLEVEL_OFF;
  sBreakDeadTimeConfig.DeadTime = 0;
  sBreakDeadTimeConfig.BreakState = TIM_BREAK_DISABLE;
  sBreakDeadTimeConfig.BreakPolarity = TIM_BREAKPOLARITY_HIGH;
  sBreakDeadTimeConfig.AutomaticOutput = TIM_AUTOMATICOUTPUT_DISABLE;
  if (HAL_TIMEx_ConfigBreakDeadTime(&htim8, &sBreakDeadTimeConfig) != HAL_OK)
  {
    Error_Handler();
  }

}

static void MX_USART2_UART_Init(void)
{

  huart2.Instance = USART2;
  huart2.Init.BaudRate = 115200;
  huart2.Init.WordLength = UART_WORDLENGTH_8B;
  huart2.Init.StopBits = UART_STOPBITS_1;
  huart2.Init.Parity = UART_PARITY_NONE;
  huart2.Init.Mode = UART_MODE_TX_RX;
  huart2.Init.HwFlowCtl = UART_HWCONTROL_NONE;
  huart2.Init.OverSampling = UART_OVERSAMPLING_16;
  if (HAL_UART_Init(&huart2) != HAL_OK)
  {
    Error_Handler();
  }

}

static void MX_USART3_UART_Init(void)
{

  huart3.Instance = USART3;
  huart3.Init.BaudRate = 115200;
  huart3.Init.WordLength = UART_WORDLENGTH_8B;
  huart3.Init.StopBits = UART_STOPBITS_1;
  huart3.Init.Parity = UART_PARITY_NONE;
  huart3.Init.Mode = UART_MODE_TX_RX;
  huart3.Init.HwFlowCtl = UART_HWCONTROL_NONE;
  huart3.Init.OverSampling = UART_OVERSAMPLING_16;
  if (HAL_UART_Init(&huart3) != HAL_OK)
  {
    Error_Handler();
  }

}

static void MX_USB_OTG_FS_USB_Init(void)
{

}

static void MX_DMA_Init(void)
{

  /* DMA controller clock enable */
  __HAL_RCC_DMA1_CLK_ENABLE();
  __HAL_RCC_DMA2_CLK_ENABLE();

  /* DMA interrupt init */
  /* DMA1_Stream0_IRQn interrupt configuration */
  HAL_NVIC_SetPriority(DMA1_Stream0_IRQn, 5, 0);
  HAL_NVIC_EnableIRQ(DMA1_Stream0_IRQn);
  /* DMA1_Stream1_IRQn interrupt configuration */
  HAL_NVIC_SetPriority(DMA1_Stream1_IRQn, 5, 0);
  HAL_NVIC_EnableIRQ(DMA1_Stream1_IRQn);
  /* DMA1_Stream3_IRQn interrupt configuration */
  HAL_NVIC_SetPriority(DMA1_Stream3_IRQn, 5, 0);
  HAL_NVIC_EnableIRQ(DMA1_Stream3_IRQn);
  /* DMA1_Stream6_IRQn interrupt configuration */
  HAL_NVIC_SetPriority(DMA1_Stream6_IRQn, 5, 0);
  HAL_NVIC_EnableIRQ(DMA1_Stream6_IRQn);
  /* DMA1_Stream7_IRQn interrupt configuration */
  HAL_NVIC_SetPriority(DMA1_Stream7_IRQn, 5, 0);
  HAL_NVIC_EnableIRQ(DMA1_Stream7_IRQn);
  /* DMA2_Stream0_IRQn interrupt configuration */
  HAL_NVIC_SetPriority(DMA2_Stream0_IRQn, 5, 0);
  HAL_NVIC_EnableIRQ(DMA2_Stream0_IRQn);
  /* DMA2_Stream2_IRQn interrupt configuration */
  HAL_NVIC_SetPriority(DMA2_Stream2_IRQn, 5, 0);
  HAL_NVIC_EnableIRQ(DMA2_Stream2_IRQn);

}

static void MX_GPIO_Init(void)
{
  GPIO_InitTypeDef GPIO_InitStruct = {0};

  /* GPIO Ports Clock Enable */
  __HAL_RCC_GPIOC_CLK_ENABLE();
  __HAL_RCC_GPIOH_CLK_ENABLE();
  __HAL_RCC_GPIOA_CLK_ENABLE();
  __HAL_RCC_GPIOB_CLK_ENABLE();

  /*Configure GPIO pin Output Level */
  HAL_GPIO_WritePin(GPIOA, GPIO_PIN_5|GPIO_PIN_6|GPIO_PIN_8|GPIO_PIN_15, GPIO_PIN_RESET);

  /*Configure GPIO pin Output Level */
  HAL_GPIO_WritePin(GPIOB, GPIO_PIN_0, GPIO_PIN_RESET);

  /*Configure GPIO pin Output Level */
  HAL_GPIO_WritePin(SPI2_CS_GPIO_Port, SPI2_CS_Pin, GPIO_PIN_SET);

  /*Configure GPIO pin : B1_Pin */
  GPIO_InitStruct.Pin = B1_Pin;
  GPIO_InitStruct.Mode = GPIO_MODE_IT_FALLING;
  GPIO_InitStruct.Pull = GPIO_NOPULL;
  HAL_GPIO_Init(B1_GPIO_Port, &GPIO_InitStruct);

  /*Configure GPIO pin : INT_MPU6050_Pin */
  GPIO_InitStruct.Pin = INT_MPU6050_Pin;
  GPIO_InitStruct.Mode = GPIO_MODE_IT_RISING;
  GPIO_InitStruct.Pull = GPIO_NOPULL;
  HAL_GPIO_Init(INT_MPU6050_GPIO_Port, &GPIO_InitStruct);

  /*Configure GPIO pins : PA5 PA6 PA8 PA15 */
  GPIO_InitStruct.Pin = GPIO_PIN_5|GPIO_PIN_6|GPIO_PIN_8|GPIO_PIN_15;
  GPIO_InitStruct.Mode = GPIO_MODE_OUTPUT_PP;
  GPIO_InitStruct.Pull = GPIO_NOPULL;
  GPIO_InitStruct.Speed = GPIO_SPEED_FREQ_LOW;
  HAL_GPIO_Init(GPIOA, &GPIO_InitStruct);

  /*Configure GPIO pin : PB0 */
  GPIO_InitStruct.Pin = GPIO_PIN_0;
  GPIO_InitStruct.Mode = GPIO_MODE_OUTPUT_PP;
  GPIO_InitStruct.Pull = GPIO_NOPULL;
  GPIO_InitStruct.Speed = GPIO_SPEED_FREQ_LOW;
  HAL_GPIO_Init(GPIOB, &GPIO_InitStruct);

  /*Configure GPIO pin : SPI2_CS_Pin */
  GPIO_InitStruct.Pin = SPI2_CS_Pin;
  GPIO_InitStruct.Mode = GPIO_MODE_OUTPUT_PP;
  GPIO_InitStruct.Pull = GPIO_NOPULL;
  GPIO_InitStruct.Speed = GPIO_SPEED_FREQ_MEDIUM;
  HAL_GPIO_Init(SPI2_CS_GPIO_Port, &GPIO_InitStruct);

  /*Configure GPIO pin : PA9 */
  GPIO_InitStruct.Pin = GPIO_PIN_9;
  GPIO_InitStruct.Mode = GPIO_MODE_INPUT;
  GPIO_InitStruct.Pull = GPIO_NOPULL;
  HAL_GPIO_Init(GPIOA, &GPIO_InitStruct);

  /*Configure GPIO pins : PA10 PA11 PA12 */
  GPIO_InitStruct.Pin = GPIO_PIN_10|GPIO_PIN_11|GPIO_PIN_12;
  GPIO_InitStruct.Mode = GPIO_MODE_AF_PP;
  GPIO_InitStruct.Pull = GPIO_NOPULL;
  GPIO_InitStruct.Speed = GPIO_SPEED_FREQ_VERY_HIGH;
  GPIO_InitStruct.Alternate = GPIO_AF10_OTG_FS;
  HAL_GPIO_Init(GPIOA, &GPIO_InitStruct);

  /* EXTI interrupt init*/
  HAL_NVIC_SetPriority(EXTI1_IRQn, 5, 0);
  HAL_NVIC_EnableIRQ(EXTI1_IRQn);

}

/* USER CODE BEGIN 4 */
/**
* @brief Retargets the C library printf function to the USART.
* @param None
* @retval None
*/
PUTCHAR_PROTOTYPE
{
/* Place your implementation of fputc here */
/* e.g. write a character to the USART2 and Loop until the end
of transmission */
HAL_UART_Transmit(&huart2, (uint8_t *)&ch, 1, 0xFFFF);
return ch;
}

/* USER CODE END 4 */

void defaultTask(void const * argument)
{
  for(;;)
  {
    osDelay(1);
  }
}

void sendDataToScreen(void const * argument)
{
  /* USER CODE BEGIN sendDataToScreen */

	static const uint8_t NUM_BYTES=4;
	static const uint8_t TOTAL_BYTES=25;

  /* Infinite loop */
  for(;;)
  {

	 uint32_t depth_as_uint = *((uint32_t*)&pressureSensor.depth);
	 uint8_t depthBytes[4];
	 uint32_t roll_as_uint=*((uint32_t*)&phiHat_deg);
	 uint8_t rollBytes[4];
	 uint32_t pitch_as_uint=*((uint32_t*)&thetaHat_deg);
	 uint8_t pitchBytes[4];
	 uint32_t velocity_as_uint=*((uint32_t*)&velocity);
	 uint8_t velocityBytes[4];
	 uint32_t yaw_as_uint=*((uint32_t*)&mpu6050.gyr_rps[2]);
	 uint8_t yawBytes[4];

	 for(int i=0;i<NUM_BYTES;i++)
	 {
		 depthBytes[i]=(depth_as_uint>>(8*i))&0xFF;  // Low Byte -> High Byte
		 rollBytes[i]=(roll_as_uint>>(8*i))&0xFF;
		 pitchBytes[i]=(pitch_as_uint>>(8*i))&0xFF;
		 velocityBytes[i]=(velocity_as_uint>>(8*i))&0xFF;
		 yawBytes[i]=(yaw_as_uint>>(8*i))&0xFF;
	 }
	 Txbuf[0]='D';
	 for(int i=1;i<5;i++)
		 Txbuf[i]=depthBytes[i-1];
	 Txbuf[5]='R';
	 for(int i=6;i<10;i++)
		 Txbuf[i]=rollBytes[i-6];
	 Txbuf[10]='P';
	 for(int i=11;i<15;i++)
		 Txbuf[i]=pitchBytes[i-11];
	 Txbuf[15]='V';
	 for(int i=16;i<20;i++)
		 Txbuf[i]=velocityBytes[i-16];
	 Txbuf[20]='Y';
	 for(int i=21;i<25;i++)
		 Txbuf[i]=yawBytes[i-21];

	 HAL_UART_Transmit_DMA(&huart2,Txbuf,TOTAL_BYTES); // attention: Data is sent LSB first

	  osDelay(900); // Screen should update roughly every 1 second
  }

  /* USER CODE END sendDataToScreen */
}

void updateControlLoop(void const * argument)
{
  /* USER CODE BEGIN updateControlLoop */

		static uint8_t horizontalCommand=0;
		static uint8_t verticalCommand=0;

	  /* Infinite loop */
	  for(;;)
	  {

		if(joystick.joystickVoltage[0]<JOYSTICK_MIN_THRESHOLD ) // go Right
		{
			if(verticalCommand==1)
				neutralRudders();
			turnRight();
			horizontalCommand=1;
			verticalCommand=0;

		}
		else if(joystick.joystickVoltage[0]>JOYSTICK_MAX_THRESHOLD)//go Left
		{
			if(verticalCommand==1)
				neutralRudders();
			turnLeft();
			horizontalCommand=1;
			verticalCommand=0;
		}

		else if (joystick.joystickVoltage[1]<JOYSTICK_MIN_THRESHOLD)//dive
		{
			if(horizontalCommand==1)
				neutralRudders();
			dive();
			verticalCommand=1;
			horizontalCommand=0;
		}
		else if(joystick.joystickVoltage[1]>JOYSTICK_MAX_THRESHOLD)//surface
		{
			if(horizontalCommand==1)
				neutralRudders();
			surface();
			verticalCommand=1;
			horizontalCommand=0;
		}
		else
			neutralRudders();

	    osDelay(100); // update control loop every 100 ms
	  }
  /* USER CODE END updateControlLoop */
}

void recordSDdata(void const * argument)
{
  /* USER CODE BEGIN recordSDdata */
  /* Infinite loop */
  for(;;)
  {
		fres = f_mount(&fs, "", 0);
	  	// Write accelerometer Data
	  	fres = f_mount(&fs, "", 0);
	  	fres = f_open(&fil, "accel.csv", FA_OPEN_APPEND | FA_WRITE | FA_READ);
	  	fres = f_getfree("", &fre_clust, &pfs);
	  	char header[50];
	  	sprintf(header,"NEW SET OF ACC. DATA (m/s^2)\n");
	  	char accDataString[50];
	  	sprintf(accDataString, "ax=%3f, ay=%3f, az=%3f\n", mpu6050.acc_mps2[0],  mpu6050.acc_mps2[1],  mpu6050.acc_mps2[2]);
	  	if (firstWrite==1)
	  		f_puts(header,&fil);
	  	f_puts(accDataString, &fil);
	  	fres = f_close(&fil);

	  	// Write Gyro Data
	  	fres = f_open(&fil, "gyro.csv", FA_OPEN_APPEND | FA_WRITE | FA_READ);
	  	fres = f_getfree("", &fre_clust, &pfs);
		sprintf(header,"NEW SET OF GYRO DATA (m/s)\n");
		char gyroDataString[50];
		if (firstWrite==1)
			f_puts(header,&fil);
		sprintf(gyroDataString, "gx=%3f, gy=%3f, gz=%3f\n", mpu6050.gyr_rps[0],  mpu6050.gyr_rps[1],  mpu6050.gyr_rps[2]);
		f_puts(gyroDataString, &fil);
		fres = f_close(&fil);

		// Write Bar30  data
		fres = f_open(&fil, "Bar30.csv", FA_OPEN_APPEND | FA_WRITE | FA_READ);
		fres = f_getfree("", &fre_clust, &pfs);
		sprintf(header,"NEW SET OF BAR30 DEPTH DATA (m)\n");
		char Bar30DataString[20];
		if (firstWrite==1)
			f_puts(header,&fil);
		sprintf(Bar30DataString, "Depth=%2f\n",pressureSensor.depth);
		f_puts(Bar30DataString, &fil);
		fres = f_close(&fil);

		// Write roll pitch data
		fres = f_open(&fil, "RP.csv", FA_OPEN_APPEND | FA_WRITE | FA_READ);
		fres = f_getfree("", &fre_clust, &pfs);
		sprintf(header,"NEW SET OF ROLL PITCH DATA (deg)\n");
		char RPDataString[40];
		if (firstWrite==1)
			f_puts(header,&fil);
		sprintf(RPDataString, "Roll=%3f Pitch=%3f\n",phiHat_deg,thetaHat_deg);
		f_puts(RPDataString, &fil);
		fres = f_close(&fil);

//
	  	f_mount(NULL, "", 1);
	  	firstWrite=0;

    osDelay(2000); // write SD card data every 2 seconds
  }
  /* USER CODE END recordSDdata */
}

void getBar30Data(void const * argument)
{
  /* USER CODE BEGIN getBar30Data */
  /* Infinite loop */
	static uint8_t i2cGood=1;
  for(;;)
  {
	i2cGood=Bar30getData(&pressureSensor);
    osDelay(250);
  }
  /* USER CODE END getBar30Data */
}

void EKFpredict(void const * argument)
{
  /* USER CODE BEGIN EKFpredict */
//  /* Infinite loop */
 for(;;)
  {
//	if(mpu6050.gyr_rps[0]!=0.0f && mpu6050.gyr_rps[1]!=0.0f&& mpu6050.gyr_rps[2]!=0.0f)
//		EKF_Predict(&ekf,mpu6050.gyr_rps[0], mpu6050.gyr_rps[1], mpu6050.gyr_rps[2], (float)KALMAN_PREDICT_PERIOD_MS/1000.0f);
//    osDelay(KALMAN_PREDICT_PERIOD_MS);
	 const float G_MPS2=9.8100000f;
	 const float SAMPLE_TIME_MS = 50;
	 const float COMP_FILT_ALPHA = 0.05000000f;

	 //accelerometer measurements
	 float ax_mps2=mpu6050.acc_mps2[0];
	 float ay_mps2=mpu6050.acc_mps2[1];
	 float az_mps2=mpu6050.acc_mps2[2];

	 // estimate angles with accelero measurements
	 if( ax_mps2!=0 && ay_mps2!=0 && az_mps2!=0){
		 float phiHat_acc_rad=atanf(ay_mps2/az_mps2);
		 float thetaHat_acc_rad=asinf(ax_mps2/G_MPS2);

		 // gyro measurements
		 float p_rps=mpu6050.gyr_rps[0];
		 float q_rps=mpu6050.gyr_rps[1];
		 float r_rps=mpu6050.gyr_rps[2];

		 // Body to Euler rates
		 float phiDot_rps=p_rps+tanf(thetaHat_rad)*(sinf(phiHat_rad)*q_rps + cosf(phiHat_rad)*r_rps);
		 float thetaDot_rps = cosf(phiHat_rad)*q_rps - sinf(phiHat_rad) * r_rps;

		 // Combine accelerometer and gyro readings to get better estimate of roll and pitch

		 phiHat_rad= COMP_FILT_ALPHA*phiHat_acc_rad+(1.0f - COMP_FILT_ALPHA)*(phiHat_rad + (SAMPLE_TIME_MS/1000.0f)*phiDot_rps);

		 thetaHat_rad=COMP_FILT_ALPHA*thetaHat_acc_rad+(1.0f-COMP_FILT_ALPHA)*(thetaHat_rad+(SAMPLE_TIME_MS/1000.0f)*thetaDot_rps);

		 phiHat_deg=phiHat_rad*RAD_TO_DEG;
		 thetaHat_deg=thetaHat_rad*RAD_TO_DEG;

		 if(ax_mps2>0.07f)
			 velocity=velocity+(SAMPLE_TIME_MS/1000.0f)*ax_mps2;

	 }

	 osDelay(SAMPLE_TIME_MS);

  }
  /* USER CODE END EKFpredict */
}

void HAL_TIM_PeriodElapsedCallback(TIM_HandleTypeDef *htim)
{
  if (htim->Instance == TIM1) {
    HAL_IncTick();
  }
}

void Error_Handler(void)
{
  __disable_irq();
  while (1)
  {
  }
}
